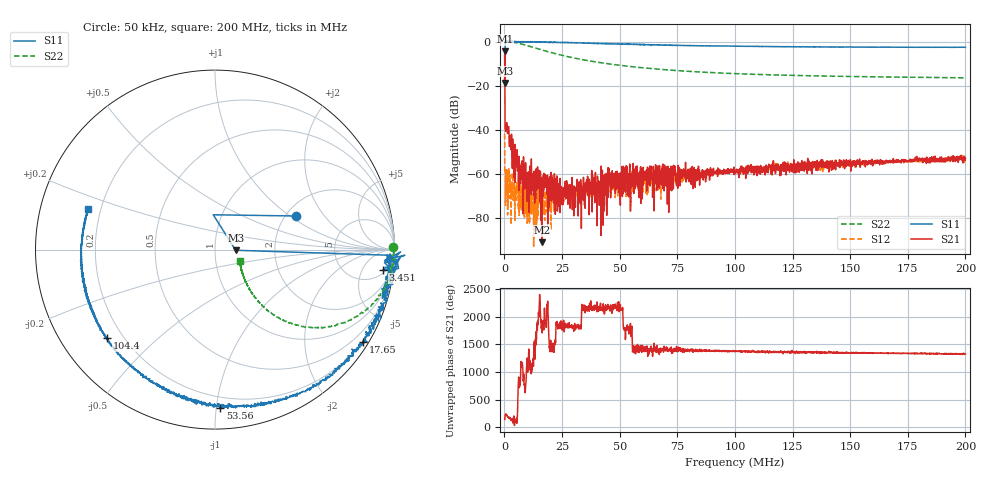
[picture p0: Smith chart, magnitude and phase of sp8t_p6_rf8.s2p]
! 26-Feb-26 12:33:33 PM
! E:\VNA_MEASUREMENTS\SP8T\SP8T_P6_RF8.S2P
! CHANNEL.1
! TR.MEASUREMENT
! CORRECTED.DATA
# GHZ S RI R 50.0
! FREQ.GHZ  S11RE  S11IM  S21RE  S21IM  S12RE  S12IM  S22RE  S22IM
!; PortSelection: Port_12
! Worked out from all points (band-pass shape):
!   2000 points, 50 kHz to 200 MHz, reference 50 ohm
!   highest |S21| = -4.47 dB at 150 kHz (marker M1); lowest = -90.9 dB at 16.15 MHz (marker M2)
!   |S21| within 3 dB of the highest: 126.2 kHz to 158.6 kHz (32.42 kHz wide, 22.8 % of centre)
!   lowest |S11| = -18.8 dB at 250 kHz (marker M3), VSWR 1.26, Z = 63 - j0.469 ohm
!   |S11| at or under -10 dB: 97.06 kHz to 296.9 kHz (199.9 kHz wide, 101 % of centre)
!   |S22| runs from -16.5 to 0.0 dB; largest |S21 - S12| = 0.6
!   S11 on the Smith chart (normalised r, x): 50 kHz: 2.26, +1.11; 3.451 MHz: 7, -13; 17.65 MHz: 0.18, -3.49; 53.56 MHz: 0.13, -1.03; 104.4 MHz: 0.14, -0.35; 200 MHz: 0.15, +0.15
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5e-05  0.4502 0.1873  -0.1089 0.0883  -0.00749 -0.00314  0.991 0.0148
0.000150025  -0.00952 0.194  -0.447 0.3967  -0.000246 -0.00105  0.9958 -0.00843
0.00025005  0.1152 -0.00367  -0.00907 -0.00573  0.00101 0.000439  0.9972 -0.0107
0.0012503  1.029 -0.0487  -0.00818 -0.00325  -0.00112 0.000318  0.9924 -0.0869
0.00345085  0.9345 -0.1138  -0.00123 0.00051  -0.00108 -8.39e-05  0.9458 -0.2103
0.007051751  0.9677 -0.2122  0.000987 -0.0011  9.22e-05 -0.000571  0.809 -0.3575
0.01255313  0.8888 -0.4204  0.000812 0.000329  -5.47e-05 -0.000125  0.5931 -0.432
0.01465365  0.8703 -0.4573  -0.00064 0.000946  0.000147 9.27e-05  0.5281 -0.4335
0.01615403  0.8439 -0.4846  1.82e-05 2.21e-05  0.000179 0.000148  0.4859 -0.4292
0.0176544  0.8265 -0.5144  -0.00055 0.00079  0.000296 0.00021  0.4494 -0.4188
0.02305575  0.7088 -0.6443  0.000203 2.85e-05  0.000198 9.55e-05  0.3516 -0.3783
0.03345835  0.4718 -0.8026  0.000276 -0.000353  0.000424 0.000118  0.2525 -0.3019
0.03695923  0.3843 -0.8344  5.67e-05 0.000472  0.000279 5.48e-05  0.2333 -0.2801
0.04376093  0.225 -0.8722  0.000561 -0.000341  0.000588 -8.37e-05  0.2074 -0.2451
0.04596148  0.1762 -0.8663  0.000362 -0.000398  0.000727 -0.00011  0.2009 -0.2347
0.05356338  0.0305 -0.8828  0.000903 7.13e-05  0.000873 1.01e-05  0.1837 -0.2066
0.06676668  -0.2084 -0.8188  0.00107 -0.000602  0.000667 -0.000403  0.1665 -0.1688
0.100075  -0.5777 -0.5324  0.000259 -0.000983  0.000577 -0.000973  0.148 -0.1157
0.1043761  -0.6014 -0.4945  0.000637 -0.00114  0.000509 -0.00107  0.1467 -0.1112
0.1333833  -0.7186 -0.2399  -0.000139 -0.000999  0.000118 -0.00169  0.1421 -0.0893
0.1666917  -0.7446 0.0141  -0.000442 -0.00178  -0.000451 -0.00188  0.1399 -0.0736
0.2  -0.705 0.2248  -0.000985 -0.00203  -0.000877 -0.00209  0.1373 -0.0621
